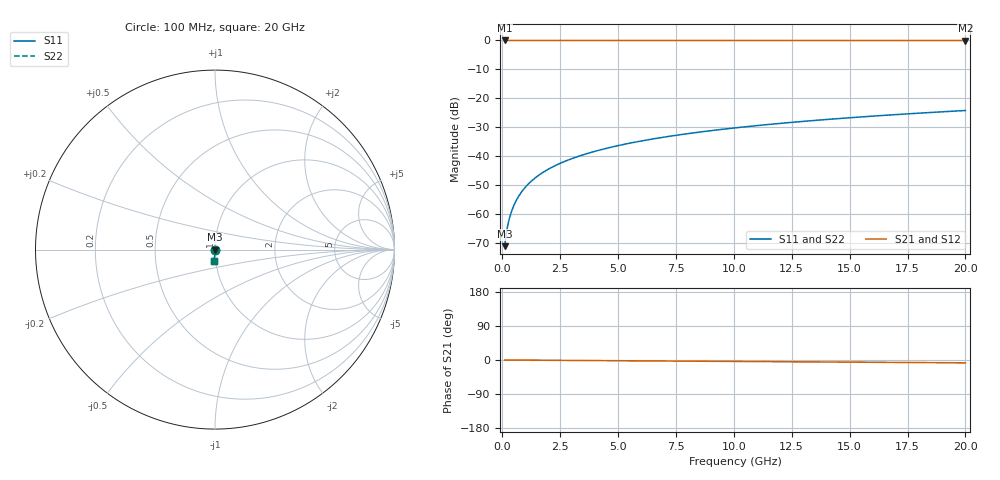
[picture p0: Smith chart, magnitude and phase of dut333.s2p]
! Touchstone file exported from HFSS 2026.1.0
!  File:  C:/ffzhzh/LocalFiles/Ansys_Project_Files/temp_train_TSV_333_1783018619_46388.aedt
!  Generated:  02:58:34 AM Jul  3, 2026
!  Design:  TSV
!  Project:  temp_train_TSV_333_1783018619_46388
! Variables:
!  h_bsmrdl = 2um
!  h_ox = 20um
!  h_rdl = 5um
!  h_sub = 68.44um
!  h_tmrdl = 5um
!  h_tsv = 68.44um
!  h_via = 3um
!  l_bsmrdl = 300um
!  l_sub = 428.44um
!  l_tmrdl = 200um
!  m_sub = 200um
!  pitch = 38.21um
!  r_tsv = 14.22um
!  s_tmrdl = 10um
!  w_bsmrdl = 18um
!  w_sub = 500um
!  w_tmrdl = 12um
!  x_tsv_center1 = 206um
!  x_tsv_center2 = 524um
!  x_tsv_center3 = 736um
!  x_tsv_center4 = 1054um
!  x_tsv_center5 = 1266um
!  x_tsv_center6 = 1584um
# GHz S MA R 50.000000
! Terminal data exported
! Port[1] = TSV1_1_T1
! Port[2] = TSV1_1_T2
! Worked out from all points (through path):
!   200 points, 100 MHz to 20 GHz, reference 50 ohm
!   highest |S21| = 0.00 dB at 100 MHz (marker M1); lowest = 0.0 dB at 20 GHz (marker M2)
!   group delay of S21, straight-line fit = 1.04 ps
!   lowest |S11| = -71.2 dB at 100 MHz (marker M3), VSWR 1.00, Z = 50 - j0.0266 ohm
!   |S11| at or under -10 dB: start of sweep to end of sweep
!   |S22| runs from -71.2 to -24.2 dB; largest |S21 - S12| = 3.2e-15
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0.1  0.0002761 -74.1  0.9999 -0.0  0.9999 -0.0  0.0002761 -74.1
! Gamma 0 0 0 0
! Port Impedance 50 0 50 0
0.2  0.0005427 -80.5  0.9999 -0.1  0.9999 -0.1  0.0005427 -80.5
0.3  0.0008192 -82.3  0.9999 -0.1  0.9999 -0.1  0.0008192 -82.3
0.4  0.001104 -83.1  0.9999 -0.2  0.9999 -0.2  0.001104 -83.1
0.5  0.001396 -83.6  0.9998 -0.2  0.9998 -0.2  0.001396 -83.6
0.7  0.001993 -84.4  0.9998 -0.3  0.9998 -0.3  0.001993 -84.4
0.8  0.002296 -84.8  0.9998 -0.3  0.9998 -0.3  0.002296 -84.8
1  0.002905 -85.4  0.9997 -0.4  0.9997 -0.4  0.002905 -85.4
1.2  0.003517 -86.0  0.9997 -0.5  0.9997 -0.5  0.003517 -86.0
1.4  0.004128 -86.5  0.9997 -0.5  0.9997 -0.5  0.004128 -86.5
1.7  0.005045 -87.0  0.9997 -0.6  0.9997 -0.6  0.005045 -87.0
2  0.005962 -87.5  0.9996 -0.8  0.9996 -0.8  0.005962 -87.5
2.7  0.0081 -88.3  0.9996 -1.0  0.9996 -1.0  0.0081 -88.3
3.5  0.01055 -89.0  0.9995 -1.3  0.9995 -1.3  0.01055 -89.0
4.2  0.01269 -89.5  0.9995 -1.6  0.9995 -1.6  0.01269 -89.5
5  0.01515 -89.9  0.9994 -1.9  0.9994 -1.9  0.01515 -89.9
6.8  0.02069 -90.9  0.9992 -2.6  0.9992 -2.6  0.02069 -90.9
8.3  0.02532 -91.6  0.999 -3.1  0.999 -3.1  0.02532 -91.6
10.1  0.03088 -92.4  0.9988 -3.8  0.9988 -3.8  0.03088 -92.4
13.4  0.04107 -93.9  0.9983 -5.0  0.9983 -5.0  0.04107 -93.9
16.7  0.05125 -95.2  0.9977 -6.3  0.9977 -6.3  0.05125 -95.2
20  0.06141 -96.5  0.9971 -7.5  0.9971 -7.5  0.06141 -96.5
